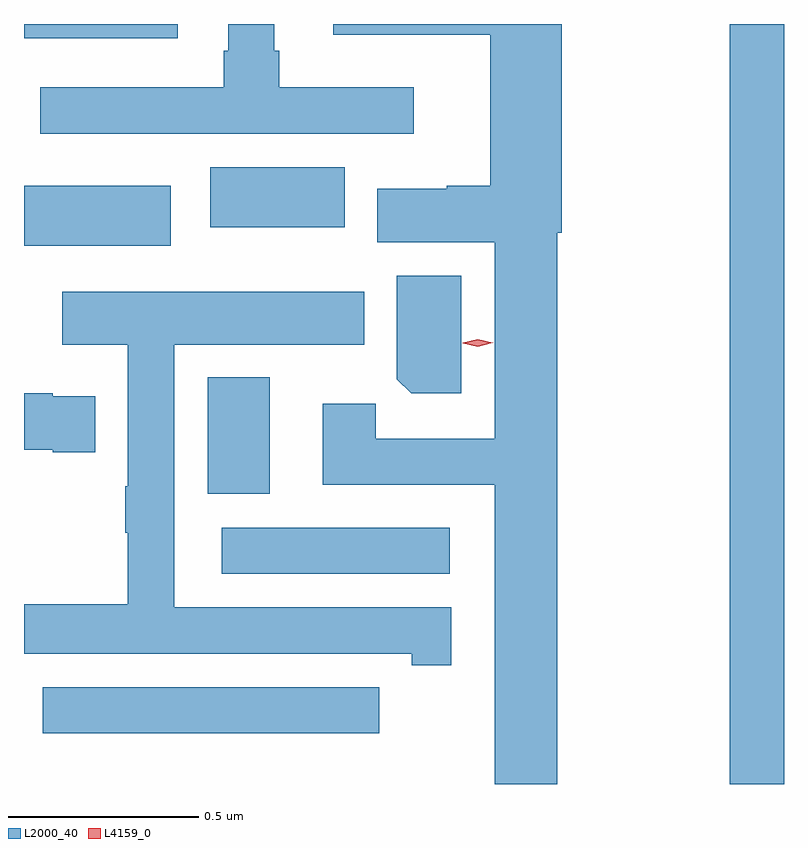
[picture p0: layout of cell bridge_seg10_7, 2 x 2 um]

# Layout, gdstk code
import gdstk
lib = gdstk.Library(unit=1e-6, precision=1e-09)
def R(c, l, rs):  # rectangles x0, y0, x1, y1
    for r in rs: c.add(gdstk.rectangle(r[:2], r[2:], *l))
def P(c, l, *ps):  # polygons
    for p in ps: c.add(gdstk.Polygon(p, *l))
L2000_40 = (2000, 40)
L4159_0 = (4159, 0)

bridge_seg10_7 = lib.new_cell('bridge_seg10_7')
R(bridge_seg10_7, L2000_40, [(1064.834,1275.583,1064.977,1277.583), (1063.026,1275.716,1063.912,1275.838), (1063.497,1276.136,1064.098,1276.258), (1063.46,1276.347,1063.624,1276.654), (1062.977,1277,1063.363,1277.158), (1063.467,1277.048,1063.821,1277.206), (1062.977,1277.546,1063.381,1277.583)])
P(bridge_seg10_7, L2000_40, [(1064.38,1277.034),(1064.392,1277.034),(1064.392,1277.583),(1063.791,1277.583),(1063.791,1277.555),(1064.204,1277.555),(1064.204,1277.157),(1064.089,1277.157),(1064.089,1277.149),(1063.906,1277.149),(1063.906,1277.009),(1064.216,1277.009),(1064.216,1276.492),(1063.902,1276.492),(1063.902,1276.584),(1063.763,1276.584),(1063.763,1276.37),(1064.216,1276.37),(1064.216,1275.583),(1064.38,1275.583)],
  [(1064.002,1277.416),(1063.649,1277.416),(1063.649,1277.512),(1063.636,1277.512),(1063.636,1277.583),(1063.514,1277.583),(1063.514,1277.512),(1063.502,1277.512),(1063.502,1277.416),(1063.02,1277.416),(1063.02,1277.294),(1064.002,1277.294)],
  [(1064.128,1276.921),(1063.958,1276.921),(1063.958,1276.648),(1063.996,1276.611),(1064.128,1276.611)],
  [(1064.101,1276.048),(1063.372,1276.048),(1063.372,1276.739),(1063.873,1276.739),(1063.873,1276.879),(1063.077,1276.879),(1063.077,1276.739),(1063.25,1276.739),(1063.25,1276.367),(1063.243,1276.367),(1063.243,1276.244),(1063.25,1276.244),(1063.25,1276.056),(1062.977,1276.056),(1062.977,1275.926),(1063.998,1275.926),(1063.998,1275.896),(1064.101,1275.896)],
  [(1063.165,1276.603),(1063.052,1276.603),(1063.052,1276.611),(1062.977,1276.611),(1062.977,1276.463),(1063.052,1276.463),(1063.052,1276.456),(1063.165,1276.456)])
P(bridge_seg10_7, L4159_0, [(1064.171,1276.734),(1064.131,1276.743),(1064.131,1276.744),(1064.131,1276.744),(1064.171,1276.754),(1064.211,1276.744),(1064.212,1276.744),(1064.211,1276.744)])

lib.write_gds('bridge_seg10_7.gds')
